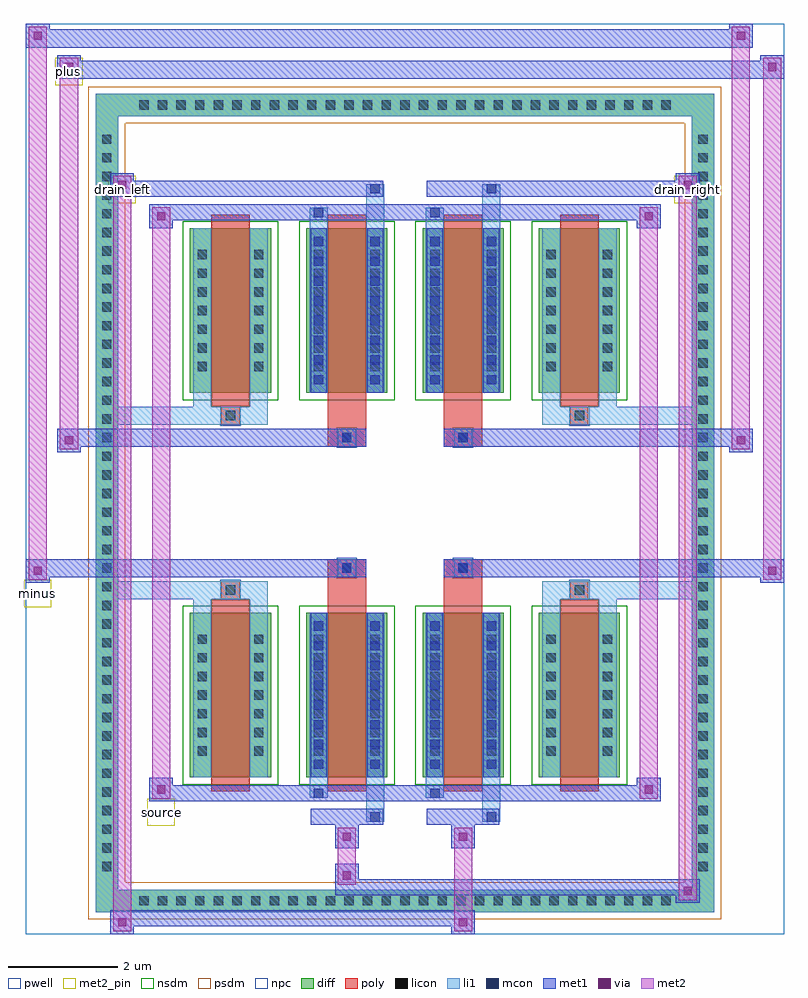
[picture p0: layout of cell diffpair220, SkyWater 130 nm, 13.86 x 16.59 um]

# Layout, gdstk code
import gdstk
lib = gdstk.Library(unit=1e-6, precision=5e-09)
def R(c, l, rs):  # rectangles x0, y0, x1, y1
    for r in rs: c.add(gdstk.rectangle(r[:2], r[2:], *l))
def A(c, l, x, y, w, h, nx, ny, dx, dy):  # array of equal rectangles
    R(c, l, [(x+i*dx, y+j*dy, x+i*dx+w, y+j*dy+h) for i in range(nx) for j in range(ny)])
def P(c, l, *ps):  # polygons
    for p in ps: c.add(gdstk.Polygon(p, *l))
pwell = (64, 44)
diff = (65, 20)
poly = (66, 20)
licon = (66, 44)
li1 = (67, 20)
mcon = (67, 44)
met1 = (68, 20)
via = (68, 44)
met2_pin = (69, 16)
met2 = (69, 20)
nsdm = (93, 44)
psdm = (94, 20)
npc = (95, 20)

diffpair220 = lib.new_cell('diffpair220')
R(diffpair220, pwell, [(-6.91,-7.86,6.91,8.73), (-4.23,-6.05,-0.01,-0.825), (0.01,-6.05,4.23,-0.825), (-4.23,0.825,-0.01,6.05), (0.01,0.825,4.23,6.05)])
A(diffpair220, diff, -4.965, -7.46, 0.41, 0.41, 29, 2, 0.34, 14.51)
A(diffpair220, diff, -5.64, -6.835, 0.41, 0.41, 1, 40, 0, 0.34)
A(diffpair220, diff, 5.23, -6.835, 0.41, 0.41, 1, 40, 0, 0.34)
A(diffpair220, diff, -3.92, -5.005, 1.48, 3, 4, 2, 2.12, 7.01)
R(diffpair220, diff, [(-4.965,-7.46,4.965,-7.05), (-5.64,-6.835,-5.23,6.835), (5.23,-6.835,5.64,6.835), (-4.965,7.05,4.965,7.46)])
P(diffpair220, diff, [(5.64,7.46),(-5.64,7.46),(-5.64,-7.05),(-5.23,-7.05),(-5.23,7.05),(5.23,7.05),(5.23,-7.05),(-5.23,-7.05),(-5.64,-7.05),(-5.64,-7.46),(5.64,-7.46)])
A(diffpair220, poly, -3.53, -5.255, 0.7, 3.5, 4, 2, 2.12, 7.01)
R(diffpair220, poly, [(-3.345,-1.755,-3.015,-1.425), (-3.345,-1.755,-3.015,-1.425), (-1.41,-1.755,-0.71,-1.355), (0.71,-1.755,1.41,-1.355), (3.015,-1.755,3.345,-1.425), (3.015,-1.755,3.345,-1.425), (-1.41,-1.355,-0.71,-1.025), (-1.225,-1.355,-0.895,-1.025), (0.71,-1.355,1.41,-1.025), (0.895,-1.355,1.225,-1.025), (-1.41,1.025,-0.71,1.355), (-1.225,1.025,-0.895,1.355), (0.71,1.025,1.41,1.355), (0.895,1.025,1.225,1.355), (-1.41,1.355,-0.71,1.755), (0.71,1.355,1.41,1.755), (-3.345,1.425,-3.015,1.755), (-3.345,1.425,-3.015,1.755), (3.015,1.425,3.345,1.755), (3.015,1.425,3.345,1.755)])
A(diffpair220, licon, -4.845, -7.34, 0.17, 0.17, 29, 2, 0.34, 14.51)
A(diffpair220, licon, -5.52, -6.715, 0.17, 0.17, 1, 40, 0, 0.34)
A(diffpair220, licon, 5.35, -6.715, 0.17, 0.17, 1, 40, 0, 0.34)
A(diffpair220, licon, -3.78, -4.61, 0.17, 0.17, 1, 7, 0, 0.34)
A(diffpair220, licon, -2.75, -4.61, 0.17, 0.17, 1, 7, 0, 0.34)
A(diffpair220, licon, -1.66, -4.61, 0.17, 0.17, 1, 7, 0, 0.34)
A(diffpair220, licon, -0.63, -4.61, 0.17, 0.17, 1, 7, 0, 0.34)
A(diffpair220, licon, 0.46, -4.61, 0.17, 0.17, 1, 7, 0, 0.34)
A(diffpair220, licon, 1.49, -4.61, 0.17, 0.17, 1, 7, 0, 0.34)
A(diffpair220, licon, 2.58, -4.61, 0.17, 0.17, 1, 7, 0, 0.34)
A(diffpair220, licon, 3.61, -4.61, 0.17, 0.17, 1, 7, 0, 0.34)
A(diffpair220, licon, -3.78, 2.4, 0.17, 0.17, 1, 7, 0, 0.34)
A(diffpair220, licon, -2.75, 2.4, 0.17, 0.17, 1, 7, 0, 0.34)
A(diffpair220, licon, -1.66, 2.4, 0.17, 0.17, 1, 7, 0, 0.34)
A(diffpair220, licon, -0.63, 2.4, 0.17, 0.17, 1, 7, 0, 0.34)
A(diffpair220, licon, 0.46, 2.4, 0.17, 0.17, 1, 7, 0, 0.34)
A(diffpair220, licon, 1.49, 2.4, 0.17, 0.17, 1, 7, 0, 0.34)
A(diffpair220, licon, 2.58, 2.4, 0.17, 0.17, 1, 7, 0, 0.34)
A(diffpair220, licon, 3.61, 2.4, 0.17, 0.17, 1, 7, 0, 0.34)
R(diffpair220, licon, [(-3.265,-1.675,-3.095,-1.505), (3.095,-1.675,3.265,-1.505), (-1.145,-1.275,-0.975,-1.105), (0.975,-1.275,1.145,-1.105), (-1.145,1.105,-0.975,1.275), (0.975,1.105,1.145,1.275), (-3.265,1.505,-3.095,1.675), (3.095,1.505,3.265,1.675)])
A(diffpair220, li1, -4.925, -7.42, 0.33, 0.33, 29, 2, 0.34, 14.51)
A(diffpair220, li1, -5.6, -6.795, 0.33, 0.33, 1, 40, 0, 0.34)
A(diffpair220, li1, 5.27, -6.795, 0.33, 0.33, 1, 40, 0, 0.34)
A(diffpair220, li1, -1.66, -4.85, 0.17, 0.17, 1, 8, 0, 0.36)
A(diffpair220, li1, -0.63, -4.85, 0.17, 0.17, 1, 8, 0, 0.36)
A(diffpair220, li1, 0.46, -4.85, 0.17, 0.17, 1, 8, 0, 0.36)
A(diffpair220, li1, 1.49, -4.85, 0.17, 0.17, 1, 8, 0, 0.36)
A(diffpair220, li1, -3.86, -4.69, 0.33, 0.33, 1, 7, 0, 0.34)
A(diffpair220, li1, -2.83, -4.69, 0.33, 0.33, 1, 7, 0, 0.34)
A(diffpair220, li1, -1.74, -4.69, 0.33, 0.33, 1, 7, 0, 0.34)
A(diffpair220, li1, -0.71, -4.69, 0.33, 0.33, 1, 7, 0, 0.34)
A(diffpair220, li1, 0.38, -4.69, 0.33, 0.33, 1, 7, 0, 0.34)
A(diffpair220, li1, 1.41, -4.69, 0.33, 0.33, 1, 7, 0, 0.34)
A(diffpair220, li1, 2.5, -4.69, 0.33, 0.33, 1, 7, 0, 0.34)
A(diffpair220, li1, 3.53, -4.69, 0.33, 0.33, 1, 7, 0, 0.34)
A(diffpair220, li1, -1.66, 2.16, 0.17, 0.17, 1, 8, 0, 0.36)
A(diffpair220, li1, -0.63, 2.16, 0.17, 0.17, 1, 8, 0, 0.36)
A(diffpair220, li1, 0.46, 2.16, 0.17, 0.17, 1, 8, 0, 0.36)
A(diffpair220, li1, 1.49, 2.16, 0.17, 0.17, 1, 8, 0, 0.36)
A(diffpair220, li1, -3.86, 2.32, 0.33, 0.33, 1, 7, 0, 0.34)
A(diffpair220, li1, -2.83, 2.32, 0.33, 0.33, 1, 7, 0, 0.34)
A(diffpair220, li1, -1.74, 2.32, 0.33, 0.33, 1, 7, 0, 0.34)
A(diffpair220, li1, -0.71, 2.32, 0.33, 0.33, 1, 7, 0, 0.34)
A(diffpair220, li1, 0.38, 2.32, 0.33, 0.33, 1, 7, 0, 0.34)
A(diffpair220, li1, 1.41, 2.32, 0.33, 0.33, 1, 7, 0, 0.34)
A(diffpair220, li1, 2.5, 2.32, 0.33, 0.33, 1, 7, 0, 0.34)
A(diffpair220, li1, 3.53, 2.32, 0.33, 0.33, 1, 7, 0, 0.34)
R(diffpair220, li1, [(-5.64,-7.46,-5.23,-7.05), (-5.64,-7.46,-5.23,-7.05), (-5.23,-7.46,5.23,-7.05), (5.23,-7.46,5.64,-7.05), (5.23,-7.46,5.64,-7.05), (-5.64,-7.05,-5.23,7.05), (5.23,-7.05,5.64,7.05), (-0.71,-5.81,-0.38,-5.005), (-0.63,-5.81,-0.46,-5.64), (1.41,-5.81,1.74,-5.005), (1.49,-5.81,1.66,-5.64), (-1.74,-5.38,-1.41,-5.005), (-1.66,-5.38,-1.49,-5.21), (0.38,-5.38,0.71,-5.005), (0.46,-5.38,0.63,-5.21), (-3.86,-5.005,-3.53,-2.005), (-2.83,-5.005,-2.5,-2.005), (-1.74,-5.005,-1.41,-2.005), (-0.71,-5.005,-0.38,-2.005), (0.38,-5.005,0.71,-2.005), (1.41,-5.005,1.74,-2.005), (2.5,-5.005,2.83,-2.005), (3.53,-5.005,3.86,-2.005), (-1.66,-4.85,-1.49,-2.16), (-0.63,-4.85,-0.46,-2.16), (0.46,-4.85,0.63,-2.16), (1.49,-4.85,1.66,-2.16), (-3.86,-2.005,-3.53,-1.425), (-2.83,-2.005,-2.5,-1.425), (2.5,-2.005,2.83,-1.425), (3.53,-2.005,3.86,-1.425), (-5.64,-1.755,-3.345,-1.425), (-3.86,-1.755,-3.345,-1.425), (-3.345,-1.755,-3.015,-1.425), (-3.015,-1.755,-2.5,-1.425), (2.5,-1.755,3.015,-1.425), (3.015,-1.755,3.345,-1.425), (3.015,-1.755,5.64,-1.425), (3.345,-1.755,3.86,-1.425), (-1.225,-1.355,-0.895,-1.025), (0.895,-1.355,1.225,-1.025), (-1.225,1.025,-0.895,1.355), (0.895,1.025,1.225,1.355), (-5.64,1.425,-3.345,1.755), (-3.86,1.425,-3.345,1.755), (-3.86,1.425,-3.53,2.005), (-3.345,1.425,-3.015,1.755), (-3.015,1.425,-2.5,1.755), (-2.83,1.425,-2.5,2.005), (2.5,1.425,3.015,1.755), (2.5,1.425,2.83,2.005), (3.015,1.425,3.345,1.755), (3.015,1.425,5.64,1.755), (3.345,1.425,3.86,1.755), (3.53,1.425,3.86,2.005), (-3.86,2.005,-3.53,5.005), (-2.83,2.005,-2.5,5.005), (-1.74,2.005,-1.41,5.005), (-0.71,2.005,-0.38,5.005), (0.38,2.005,0.71,5.005), (1.41,2.005,1.74,5.005), (2.5,2.005,2.83,5.005), (3.53,2.005,3.86,5.005), (-1.66,2.16,-1.49,4.85), (-0.63,2.16,-0.46,4.85), (0.46,2.16,0.63,4.85), (1.49,2.16,1.66,4.85), (-1.74,5.005,-1.41,5.38), (-0.71,5.005,-0.38,5.81), (0.38,5.005,0.71,5.38), (1.41,5.005,1.74,5.81), (-1.66,5.21,-1.49,5.38), (0.46,5.21,0.63,5.38), (-0.63,5.64,-0.46,5.81), (1.49,5.64,1.66,5.81), (-5.64,7.05,-5.23,7.46), (-5.64,7.05,-5.23,7.46), (-5.23,7.05,5.23,7.46), (5.23,7.05,5.64,7.46), (5.23,7.05,5.64,7.46)])
A(diffpair220, mcon, -1.66, -4.85, 0.17, 0.17, 1, 8, 0, 0.36)
A(diffpair220, mcon, -0.63, -4.85, 0.17, 0.17, 1, 8, 0, 0.36)
A(diffpair220, mcon, 0.46, -4.85, 0.17, 0.17, 1, 8, 0, 0.36)
A(diffpair220, mcon, 1.49, -4.85, 0.17, 0.17, 1, 8, 0, 0.36)
A(diffpair220, mcon, -1.66, 2.16, 0.17, 0.17, 1, 8, 0, 0.36)
A(diffpair220, mcon, -0.63, 2.16, 0.17, 0.17, 1, 8, 0, 0.36)
A(diffpair220, mcon, 0.46, 2.16, 0.17, 0.17, 1, 8, 0, 0.36)
A(diffpair220, mcon, 1.49, 2.16, 0.17, 0.17, 1, 8, 0, 0.36)
R(diffpair220, mcon, [(-0.63,-5.81,-0.46,-5.64), (1.49,-5.81,1.66,-5.64), (-1.66,-5.38,-1.49,-5.21), (0.46,-5.38,0.63,-5.21), (-1.145,-1.275,-0.975,-1.105), (0.975,-1.275,1.145,-1.105), (-1.145,1.105,-0.975,1.275), (0.975,1.105,1.145,1.275), (-1.66,5.21,-1.49,5.38), (0.46,5.21,0.63,5.38), (-0.63,5.64,-0.46,5.81), (1.49,5.64,1.66,5.81)])
A(diffpair220, met1, -1.72, -4.91, 0.29, 0.29, 1, 8, 0, 0.36)
A(diffpair220, met1, -0.69, -4.91, 0.29, 0.29, 1, 8, 0, 0.36)
A(diffpair220, met1, 0.4, -4.91, 0.29, 0.29, 1, 8, 0, 0.36)
A(diffpair220, met1, 1.43, -4.91, 0.29, 0.29, 1, 8, 0, 0.36)
A(diffpair220, met1, -1.72, 2.1, 0.29, 0.29, 1, 8, 0, 0.36)
A(diffpair220, met1, -0.69, 2.1, 0.29, 0.29, 1, 8, 0, 0.36)
A(diffpair220, met1, 0.4, 2.1, 0.29, 0.29, 1, 8, 0, 0.36)
A(diffpair220, met1, 1.43, 2.1, 0.29, 0.29, 1, 8, 0, 0.36)
R(diffpair220, met1, [(-5.37,-7.86,-4.94,-7.43), (0.845,-7.86,1.275,-7.43), (-5.37,-7.72,1.275,-7.43), (4.94,-7.29,5.37,-6.86), (-1.275,-7.15,5.37,-6.86), (-1.275,-7.01,-0.845,-6.58), (-1.275,-6.3,-0.845,-5.87), (0.845,-6.3,1.275,-5.87), (-1.72,-5.87,-0.4,-5.58), (-0.69,-5.87,-0.4,-5.58), (0.4,-5.87,1.72,-5.58), (1.43,-5.87,1.72,-5.58), (-4.66,-5.44,-4.23,-5.01), (-4.66,-5.44,-1.72,-5.15), (-1.72,-5.44,-1.43,-5.15), (-1.72,-5.44,-0.4,-5.15), (-0.4,-5.44,0.4,-5.15), (0.4,-5.44,0.69,-5.15), (0.4,-5.44,1.72,-5.15), (1.72,-5.44,4.66,-5.15), (4.23,-5.44,4.66,-5.01), (-1.72,-5.005,-1.43,-2.005), (-0.69,-5.005,-0.4,-2.005), (0.4,-5.005,0.69,-2.005), (1.43,-5.005,1.72,-2.005), (-6.91,-1.455,-6.48,-1.025), (6.48,-1.455,6.91,-1.025), (-6.91,-1.355,-0.71,-1.025), (-1.41,-1.355,-0.71,-1.025), (0.71,-1.355,1.41,-1.025), (0.71,-1.355,6.91,-1.025), (-1.205,-1.335,-0.915,-1.045), (0.915,-1.335,1.205,-1.045), (-6.34,0.925,-5.91,1.355), (5.91,0.925,6.34,1.355), (-6.34,1.025,-1.41,1.355), (-1.41,1.025,-0.71,1.355), (0.71,1.025,1.41,1.355), (1.41,1.025,6.34,1.355), (-1.205,1.045,-0.915,1.335), (0.915,1.045,1.205,1.335), (-1.72,2.005,-1.43,5.005), (-0.69,2.005,-0.4,5.005), (0.4,2.005,0.69,5.005), (1.43,2.005,1.72,5.005), (-4.66,5.01,-4.23,5.44), (4.23,5.01,4.66,5.44), (-4.66,5.15,-1.72,5.44), (-1.72,5.15,-1.43,5.44), (-1.72,5.15,-0.4,5.44), (-0.4,5.15,0.4,5.44), (0.4,5.15,0.69,5.44), (0.4,5.15,1.72,5.44), (1.72,5.15,4.66,5.44), (-5.37,5.58,-4.94,6.01), (-5.37,5.58,-1.72,5.87), (-1.72,5.58,-0.4,5.87), (-0.69,5.58,-0.4,5.87), (0.4,5.58,1.72,5.87), (1.43,5.58,1.72,5.87), (1.72,5.58,5.37,5.87), (4.94,5.58,5.37,6.01), (-6.34,7.73,-5.91,8.16), (-6.34,7.73,-4.23,8.06), (-4.23,7.73,4.23,8.06), (4.23,7.73,6.91,8.06), (6.48,7.73,6.91,8.16), (-6.91,8.3,-6.48,8.73), (-6.91,8.3,-4.23,8.63), (-4.23,8.3,4.23,8.63), (4.23,8.3,6.34,8.63), (5.91,8.3,6.34,8.73)])
R(diffpair220, via, [(-5.23,-7.72,-5.08,-7.57), (0.985,-7.72,1.135,-7.57), (5.08,-7.15,5.23,-7), (-1.135,-6.87,-0.985,-6.72), (-1.135,-6.16,-0.985,-6.01), (0.985,-6.16,1.135,-6.01), (-4.52,-5.3,-4.37,-5.15), (4.37,-5.3,4.52,-5.15), (-6.77,-1.315,-6.62,-1.165), (6.62,-1.315,6.77,-1.165), (-6.2,1.065,-6.05,1.215), (6.05,1.065,6.2,1.215), (-4.52,5.15,-4.37,5.3), (4.37,5.15,4.52,5.3), (-5.23,5.72,-5.08,5.87), (5.08,5.72,5.23,5.87), (-6.2,7.87,-6.05,8.02), (6.62,7.87,6.77,8.02), (-6.77,8.44,-6.62,8.59), (6.05,8.44,6.2,8.59)])
R(diffpair220, met2_pin, [(-4.695,-5.89,-4.195,-5.39), (-6.945,-1.905,-6.445,-1.405), (-5.405,5.46,-4.905,5.96), (4.905,5.46,5.405,5.96), (-6.375,7.61,-5.875,8.11)])
R(diffpair220, met2, [(-5.32,-7.81,-4.99,-7.48), (-5.32,-7.81,-4.99,5.96), (0.895,-7.81,1.225,-7.48), (0.895,-7.48,1.225,-6.25), (4.99,-7.24,5.32,-6.91), (4.99,-7.24,5.32,5.96), (-1.225,-6.96,-0.895,-6.63), (-1.225,-6.63,-0.895,-6.25), (-1.225,-6.25,-0.895,-5.92), (0.895,-6.25,1.225,-5.92), (-4.61,-5.39,-4.28,-5.06), (-4.61,-5.39,-4.28,5.39), (4.28,-5.39,4.61,-5.06), (4.28,-5.39,4.61,5.39), (-6.86,-1.405,-6.53,-1.075), (-6.86,-1.405,-6.53,8.68), (6.53,-1.405,6.86,-1.075), (6.53,-1.405,6.86,8.11), (-6.29,0.975,-5.96,1.305), (-6.29,0.975,-5.96,8.11), (5.96,0.975,6.29,1.305), (5.96,0.975,6.29,8.68), (-4.61,5.06,-4.28,5.39), (4.28,5.06,4.61,5.39), (-5.32,5.63,-4.99,5.96), (4.99,5.63,5.32,5.96), (-6.29,7.78,-5.96,8.11), (6.53,7.78,6.86,8.11), (-6.86,8.35,-6.53,8.68), (5.96,8.35,6.29,8.68)])
P(diffpair220, met2, [(6.86,-1.405),(6.86,-1.405),(6.86,-1.075),(6.86,-1.075)],
  [(6.86,7.78),(6.86,7.78),(6.86,8.11),(6.86,8.11)],
  [(-6.53,-1.405),(-6.53,-1.405),(-6.53,-1.075),(-6.53,-1.075)],
  [(-6.53,8.35),(-6.53,8.35),(-6.53,8.68),(-6.53,8.68)],
  [(6.29,0.975),(6.29,0.975),(6.29,1.305),(6.29,1.305)],
  [(6.29,8.35),(6.29,8.35),(6.29,8.68),(6.29,8.68)],
  [(-5.96,0.975),(-5.96,0.975),(-5.96,1.305),(-5.96,1.305)],
  [(-5.96,7.78),(-5.96,7.78),(-5.96,8.11),(-5.96,8.11)],
  [(-4.99,-7.81),(-4.99,-7.81),(-4.99,-7.48),(-4.99,-7.48)],
  [(-4.99,5.63),(-4.99,5.63),(-4.99,5.96),(-4.99,5.96)],
  [(5.32,-7.24),(5.32,-7.24),(5.32,-6.91),(5.32,-6.91)],
  [(5.32,5.63),(5.32,5.63),(5.32,5.96),(5.32,5.96)],
  [(-4.28,-5.39),(-4.28,-5.39),(-4.28,-5.06),(-4.28,-5.06)],
  [(-4.28,5.06),(-4.28,5.06),(-4.28,5.39),(-4.28,5.39)],
  [(4.61,-5.39),(4.61,-5.39),(4.61,-5.06),(4.61,-5.06)],
  [(4.61,5.06),(4.61,5.06),(4.61,5.39),(4.61,5.39)])
A(diffpair220, nsdm, -4.05, -5.135, 1.74, 3.26, 4, 2, 2.12, 7.01)
P(diffpair220, psdm, [(5.77,7.59),(-5.77,7.59),(-5.77,-6.92),(-5.1,-6.92),(-5.1,6.92),(5.1,6.92),(5.1,-6.92),(-5.1,-6.92),(-5.77,-6.92),(-5.77,-7.59),(5.77,-7.59)])
R(diffpair220, npc, [(-3.365,-1.775,-2.995,-1.405), (2.995,-1.775,3.365,-1.405), (-1.245,-1.375,-0.875,-1.005), (0.875,-1.375,1.245,-1.005), (-1.245,1.005,-0.875,1.375), (0.875,1.005,1.245,1.375), (-3.365,1.405,-2.995,1.775), (2.995,1.405,3.365,1.775)])
diffpair220.add(gdstk.Label('minus', (-6.695,-1.655), layer=69, texttype=5))
diffpair220.add(gdstk.Label('drain_right', (5.155,5.71), layer=69, texttype=5))
diffpair220.add(gdstk.Label('drain_left', (-5.155,5.71), layer=69, texttype=5))
diffpair220.add(gdstk.Label('source', (-4.445,-5.64), layer=69, texttype=5))
diffpair220.add(gdstk.Label('plus', (-6.125,7.86), layer=69, texttype=5))

lib.write_gds('diffpair220.gds')
